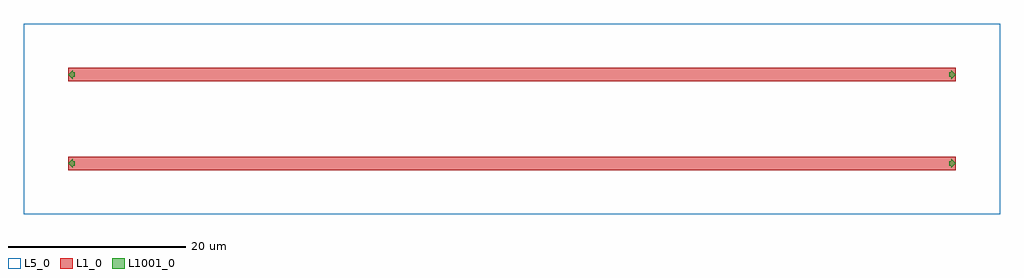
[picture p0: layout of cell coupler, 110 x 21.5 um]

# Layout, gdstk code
import gdstk
lib = gdstk.Library(unit=1e-6, precision=1e-09)
def R(c, l, rs):  # rectangles x0, y0, x1, y1
    for r in rs: c.add(gdstk.rectangle(r[:2], r[2:], *l))
def P(c, l, *ps):  # polygons
    for p in ps: c.add(gdstk.Polygon(p, *l))
L1_0 = (1, 0)
L5_0 = (5, 0)
L1001_0 = (1001, 0)

coupler = lib.new_cell('coupler')
R(coupler, L1_0, [(0,-10.75,100,-9.25), (0,-0.75,100,0.75)])
R(coupler, L5_0, [(-5,-15.75,105,-4.25), (-5,-5.75,105,5.75)])
P(coupler, L1001_0, [(100,-10),(99.5,-9.5),(99.5,-9.75),(99.3,-9.75),(99.3,-10.25),(99.5,-10.25),(99.5,-10.5)],
  [(0,-10),(0.5,-9.5),(0.5,-9.75),(0.7,-9.75),(0.7,-10.25),(0.5,-10.25),(0.5,-10.5)],
  [(100,0),(99.5,0.5),(99.5,0.25),(99.3,0.25),(99.3,-0.25),(99.5,-0.25),(99.5,-0.5)],
  [(0,0),(0.5,0.5),(0.5,0.25),(0.7,0.25),(0.7,-0.25),(0.5,-0.25),(0.5,-0.5)])

lib.write_gds('coupler.gds')
